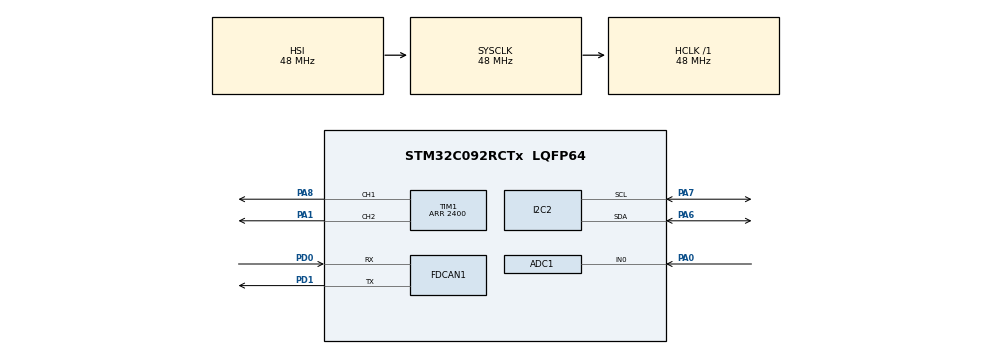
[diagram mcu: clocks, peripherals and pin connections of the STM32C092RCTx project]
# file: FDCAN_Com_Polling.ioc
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ADC1.NbrOfConversionFlag=0
ADC1.SelectedChannel=ADC_CHANNEL_0
ADC1.master=1
FDCAN1.AutoRetransmission=ENABLE
FDCAN1.CalculateBaudRateData=1000000
FDCAN1.CalculateBaudRateNominal=1000000
FDCAN1.CalculateTimeBitNominal=1000
FDCAN1.CalculateTimeQuantumNominal=20.833333333333332
FDCAN1.DataSyncJumpWidth=6
FDCAN1.DataTimeSeg1=17
FDCAN1.DataTimeSeg2=6
FDCAN1.FrameFormat=FDCAN_FRAME_FD_BRS
FDCAN1.NominalPrescaler=1
FDCAN1.NominalSyncJumpWidth=12
FDCAN1.NominalTimeSeg1=35
FDCAN1.NominalTimeSeg2=12
FDCAN1.StdFiltersNbr=1
FDCAN1.TransmitPause=ENABLE
I2C2.Timing=0x10805D88
Mcu.Family=STM32C0
Mcu.Name=STM32C092RCTx
Mcu.Package=LQFP64
NUCLEO-C092RC.BUTTON=2
NUCLEO-C092RC.LD1=true
NUCLEO-C092RC.LD2=true
NUCLEO-C092RC.VCP=true
NVIC.TIM2_IRQn=true\:0\:0\:false\:false\:true\:true\:true\:true
PA0.Mode=IN0
PA0.Signal=ADC1_IN0
PA1.Signal=S_TIM1_CH2
PA6.Mode=I2C
PA6.Signal=I2C2_SDA
PA7.Mode=I2C
PA7.Signal=I2C2_SCL
PA8.Signal=S_TIM1_CH1
PD0.Mode=FDCAN_Activate
PD0.Signal=FDCAN1_RX
PD1.Mode=FDCAN_Activate
PD1.Signal=FDCAN1_TX
ProjectManager.HeapSize=0x200
ProjectManager.StackSize=0x400
ProjectManager.TargetToolchain=STM32CubeIDE
RCC.ADCFreq_Value=48000000
RCC.AHBFreq_Value=48000000
RCC.CortexFreq_Value=48000000
RCC.EXTERNAL_CLOCK_VALUE=12288000
RCC.HCLKFreq_Value=48000000
RCC.HSE_VALUE=8000000
RCC.HSISYSCLKDivider=RCC_HSI_DIV1
RCC.HSI_VALUE=48000000
RCC.LSE_VALUE=32768
RCC.SYSCLKFreq_VALUE=48000000
SH.S_TIM1_CH1.0=TIM1_CH1,PWM Generation1 CH1
SH.S_TIM1_CH2.0=TIM1_CH2,PWM Generation2 CH2
TIM1.Channel-PWM\ Generation1\ CH1=TIM_CHANNEL_1
TIM1.Channel-PWM\ Generation2\ CH2=TIM_CHANNEL_2
TIM1.Period=2400
TIM1.Pulse-PWM\ Generation1\ CH1=0
TIM1.Pulse-PWM\ Generation2\ CH2=0
TIM2.Period=48000
VP_NUCLEO-C092RC_VS_BSP_COMMON.Mode=COMMON
VP_TIM2_VS_ClockSourceINT.Mode=Internal
board=NUCLEO-C092RC

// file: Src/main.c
/* USER CODE BEGIN Header */
/**
  ******************************************************************************
  * @file    FDCAN/FDCAN_Com_Polling/Src/main.c
  * @author  MCD Application Team
  * @brief   This sample code shows how to achieve Polling Process Communication
  *          between two FDCAN units.
  ******************************************************************************
  * @attention
  *
  * Copyright (c) 2024 STMicroelectronics.
  * All rights reserved.
  *
  * This software is licensed under terms that can be found in the LICENSE file
  * in the root directory of this software component.
  * If no LICENSE file comes with this software, it is provided AS-IS.
  *
  ******************************************************************************
  */
/* USER CODE END Header */
#include "main.h"

/* USER CODE BEGIN Includes */
#include <stdio.h>
#include <string.h>
/* USER CODE END Includes */

/* USER CODE BEGIN PD */
#define TX_ID          (0x111)   /* TX CAN message identifier    */
#define RX_ID          (0x111)   /* RX CAN message identifier    */

/* INA219 I2C address.
   The INA219 default 7-bit address is 0x40.
   In STM32 HAL, we send the address as INA219_ADDR << 1 later. */
#define INA219_ADDR              0x40

/* INA219 register addresses from the INA219 datasheet.
   These tell the sensor which internal register we want to write/read. */
#define INA219_REG_CONFIG        0x00  // Configuration register: sets voltage/current measurement mode
#define INA219_REG_SHUNTVOLTAGE  0x01  // Shunt voltage register
#define INA219_REG_BUSVOLTAGE    0x02  // Bus voltage register
#define INA219_REG_POWER         0x03  // Power register
#define INA219_REG_CURRENT       0x04  // Current register: this is what we read for motor current
#define INA219_REG_CALIBRATION   0x05  // Calibration register: sets current scaling

#define ADC_MIN_SAFE 0
// If ADC position is below this, stop the motor.

#define ADC_MAX_SAFE 4095
// 12-bit ADC max is 4095.
// set 4000 so saturation doesnt happen
// If ADC position is above this, stop the motor.

#define PWM_MAX 2400
// Your TIM1 period is 2400, so compare = 2400 means 100% high.

#define PWM_HALF 1200
// Half of 2400, used for 50% speed test.

#define NSAMPLES 400
// 400 samples total. At 1 kHz, this is 400 ms.

#define CURRENT_FLIP_TIME 100
// Flip desired current every 100 samples.
// 100 samples at 1 kHz = 100 ms.

#define DESIRED_CURRENT_RAW 150
// Desired current in raw INA219 units.
// 150 raw is about 50 mA because raw / 3 ≈ mA.
// Start low for safety.

#define KP_CURRENT .05f
// Proportional gain for current controller.

#define KI_CURRENT 1.0f

/* USER CODE END PD */

/* USER CODE BEGIN PM */
#define COUNTOF(BUFFER) (sizeof((BUFFER)) / sizeof(*(BUFFER)))
/* USER CODE END PM */

COM_InitTypeDef BspCOMInit;
ADC_HandleTypeDef hadc1;

FDCAN_HandleTypeDef hfdcan1;

I2C_HandleTypeDef hi2c2;

TIM_HandleTypeDef htim1;
TIM_HandleTypeDef htim2;

/* USER CODE BEGIN PV */
FDCAN_RxHeaderTypeDef rxHeader;
FDCAN_TxHeaderTypeDef txHeader;
uint8_t rxData[16U];
static const uint8_t txData[] = {0x10, 0x32, 0x54, 0x76, 0x98, 0x00, 0x11, 0x22,
                                 0x33, 0x44, 0x55, 0x66, 0x77, 0x88, 0x99, 0x00
                                };

volatile uint8_t state = 0;
// state = 0 means do nothing
// state = 1 means the user pressed 'a', so the interrupt should read ADC/current once

volatile uint32_t latest_position = 0;
// Stores the most recent ADC position value

volatile signed short latest_current_raw = 0;
// Stores the most recent raw INA219 current value

volatile uint8_t motor_killed = 0;
// 0 = motor is allowed
// 1 = safety stopped the motor

volatile signed short measured_current_array[NSAMPLES];
// Actual INA219 current readings.

volatile signed short desired_current_array[NSAMPLES];
// Desired current at each sample.

volatile int samples_collected = 0;
// How many samples were actually collected.

volatile uint32_t position_array[NSAMPLES];
// Stores potentiometer/ADC position during current-control test

/* USER CODE END PV */

void SystemClock_Config(void);
static void MX_GPIO_Init(void);
static void MX_FDCAN1_Init(void);
static void MX_ADC1_Init(void);
static void MX_I2C2_Init(void);
static void MX_TIM1_Init(void);
static void MX_TIM2_Init(void);
/* USER CODE BEGIN PFP */
static uint32_t BufferCmp8b(const uint8_t *pBuffer1, const uint8_t *pBuffer2, uint16_t BufferLength);

/* USER CODE END PFP */

/* USER CODE BEGIN 0 */
uint32_t read_servo_adc(void)
{
    uint32_t raw = 0;

    HAL_ADC_Start(&hadc1);

    if (HAL_ADC_PollForConversion(&hadc1, 10) == HAL_OK)
    {
        raw = HAL_ADC_GetValue(&hadc1);
    }
    else
    {
        raw = 0;
    }

    HAL_ADC_Stop(&hadc1);

    return raw;
}

/* This handle is created by the BSP Virtual COM Port code.
   We use it because your project does not show a normal huart2 or huart3 in main.c. */
extern UART_HandleTypeDef hcom_uart[];

/* This function writes a 16-bit value to one INA219 register. */
void writeINA219(int reg, int value)
{
    uint8_t buf[3];

    buf[0] = reg;
    // First byte: which INA219 register we want to write to.

    buf[1] = value >> 8;
    // Second byte: upper 8 bits of the 16-bit value.
    // Example: if value = 0x308F, this sends 0x30 first.

    buf[2] = value & 0xFF;
    // Third byte: lower 8 bits of the 16-bit value.
    // Example: if value = 0x308F, this sends 0x8F second.

    HAL_I2C_Master_Transmit(&hi2c2, INA219_ADDR << 1, buf, 3, 10);
    // &hi2c2: use I2C2, which is connected to the INA219.
    // INA219_ADDR << 1: STM32 HAL expects the 7-bit address shifted left by 1.
    // buf: the data we are sending.
    // 3: we send 3 bytes: register, high byte, low byte.
    // 10: timeout in milliseconds.
}

/* This function reads a 16-bit signed value from one INA219 register. */
signed short readINA219(unsigned char reg)
{
    uint8_t buffer[2];

    HAL_I2C_Master_Transmit(&hi2c2, INA219_ADDR << 1, &reg, 1, 10);
    // First, tell the INA219 which register we want to read from.
    // &reg: address of the register variable.
    // 1: send only 1 byte, the register address.
    // 10: timeout in milliseconds.

    HAL_I2C_Master_Receive(&hi2c2, INA219_ADDR << 1, buffer, 2, 10);
    // Then read 2 bytes back from that register.
    // buffer[0] will be the high byte.
    // buffer[1] will be the low byte.
    // 2: receive 2 bytes.
    // 10: timeout in milliseconds.

    signed short value = (buffer[0] << 8) | buffer[1];
    // Combine the two 8-bit bytes into one 16-bit number.
    // buffer[0] << 8 moves the high byte into the upper half.
    // | buffer[1] adds the low byte.

    return value/3;
}

/* This function configures the INA219 current sensor once at startup. */
void init_ina219(void)
{
    unsigned short ina219_calValue = 1024;
    // Calibration value.
    // This sets the scaling for current measurements.
    // The assignment gives 1024, so we use that.

    unsigned short ina219_config = 0x308F;
    // Same as binary 0b0011000010001111 from the assignment.
    // This configures the INA219 measurement settings:
    // - bus voltage range
    // - shunt voltage range
    // - ADC resolution/sample time
    // - continuous shunt and bus measurement mode

    writeINA219(INA219_REG_CALIBRATION, ina219_calValue);
    // Write the calibration value to register 0x05.

    writeINA219(INA219_REG_CONFIG, ina219_config);
    // Write the configuration value to register 0x00.
}

/* This function reads current as a float in milliamps.
   We may not use it for printing because float printing can be annoying on STM32. */
float read_ina219(void)
{
    float ma = 0;

    signed short value = readINA219(INA219_REG_CURRENT);
    // Read the current register, register 0x04.

    ma = value / 3.0;
    // According to the assignment, the raw value is in thirds of a milliamp.
    // So dividing by 3 gives current in mA.

    return ma;
}

/* This function prints position and current to the serial monitor. */
void print_position_and_current(uint32_t position, signed short current_raw)
{
    char msg[80];
    // Character array to store the message before sending it.
    // 80 characters is enough for this short line.

    snprintf(msg, sizeof(msg), "Position: %lu, Current raw: %d\r\n", position, current_raw);
    // Create a string like:
    // Position: 2000, Current raw: 12
    // %lu is for unsigned long / uint32_t.
    // %d is for signed integer.
    // \r\n makes a new line in the serial monitor.

    HAL_UART_Transmit(&hcom_uart[COM1], (uint8_t *)msg, strlen(msg), HAL_MAX_DELAY);
    // Send the message through the Virtual COM Port.
    // hcom_uart[COM1] is the UART used by BSP COM1.
    // strlen(msg) sends only the actual message length.
    // HAL_MAX_DELAY means wait until the message is sent.
}

extern UART_HandleTypeDef hcom_uart[];
void print_adc_value(uint32_t adc_value)
{
    char msg[50];

    snprintf(msg, sizeof(msg), "Servo ADC value: %lu\r\n", adc_value);

    HAL_UART_Transmit(&hcom_uart[COM1], (uint8_t *)msg, strlen(msg), HAL_MAX_DELAY);
}

void check_ina219_connection(void)
{
    char msg[80];

    HAL_StatusTypeDef status = HAL_I2C_IsDeviceReady(&hi2c2, INA219_ADDR << 1, 3, 100);

    if (status == HAL_OK)
    {
        snprintf(msg, sizeof(msg), "INA219 found at address 0x%02X\r\n", INA219_ADDR);
    }
    else
    {
        snprintf(msg, sizeof(msg), "INA219 NOT found. Check wiring/address.\r\n");
    }

    HAL_UART_Transmit(&hcom_uart[COM1], (uint8_t *)msg, strlen(msg), HAL_MAX_DELAY);
}

void send_string(char *msg)
{
    HAL_UART_Transmit(&hcom_uart[COM1], (uint8_t *)msg, strlen(msg), HAL_MAX_DELAY);
}

void motor_off(void)
{
    // Motor off for this DRV8833 setup:
    // both inputs high.
    __HAL_TIM_SET_COMPARE(&htim1, TIM_CHANNEL_1, PWM_MAX);
    __HAL_TIM_SET_COMPARE(&htim1, TIM_CHANNEL_2, PWM_MAX);
}

void motor_forward_50(void)
{
    __HAL_TIM_SET_COMPARE(&htim1, TIM_CHANNEL_1, PWM_MAX);
    __HAL_TIM_SET_COMPARE(&htim1, TIM_CHANNEL_2, PWM_HALF);
}

void motor_reverse_50(void)
{
    __HAL_TIM_SET_COMPARE(&htim1, TIM_CHANNEL_1, PWM_HALF);
    __HAL_TIM_SET_COMPARE(&htim1, TIM_CHANNEL_2, PWM_MAX);
}

void test_motor_pwm(void)
{
    send_string("PWM test starting\r\n");

    motor_forward_50();
    HAL_Delay(200);   // less than 1 second, short safety test

    motor_off();
    HAL_Delay(200);

    motor_reverse_50();
    HAL_Delay(200);

    motor_off();

    send_string("PWM test done\r\n");
}

void set_motor_pwm(int pwm)
{
    // pwm range: -2400 to +2400.
    // pwm > 0: one direction.
    // pwm < 0: opposite direction.
    // pwm = 0: motor off.

    if (pwm > PWM_MAX)
    {
        pwm = PWM_MAX;
    }

    if (pwm < -PWM_MAX)
    {
        pwm = -PWM_MAX;
    }

    if (pwm > 0)
    {
        // Forward:
        // CH1 stays high.
        // CH2 decreases as speed increases.
        __HAL_TIM_SET_COMPARE(&htim1, TIM_CHANNEL_1, PWM_MAX);
        __HAL_TIM_SET_COMPARE(&htim1, TIM_CHANNEL_2, PWM_MAX - pwm);
    }
    else if (pwm < 0)
    {
        // Reverse:
        // CH2 stays high.
        // CH1 decreases as speed increases.
        __HAL_TIM_SET_COMPARE(&htim1, TIM_CHANNEL_1, PWM_MAX + pwm);
        __HAL_TIM_SET_COMPARE(&htim1, TIM_CHANNEL_2, PWM_MAX);
    }
    else
    {
        motor_off();
    }
}

/* USER CODE END 0 */

int main(void)
{

  /* USER CODE BEGIN 1 */

  /* STM32C0xx HAL library initialization:
       - Configure the Flash prefetch
       - Systick timer is configured by default as source of time base, but user
         can eventually implement his proper time base source (a general purpose
         timer for example or other time source), keeping in mind that Time base
         duration should be kept 1ms since PPP_TIMEOUT_VALUEs are defined and
         handled in milliseconds basis.
       - Low Level Initialization
     */
  /* USER CODE END 1 */

  /* MCU Configuration--------------------------------------------------------*/

  /* Reset of all peripherals, Initializes the Flash interface and the Systick. */
  HAL_Init();

  /* Configure the system clock */
  SystemClock_Config();

  /* USER CODE BEGIN SysInit */
  /* Configure LED1 and LED2 */
  BSP_LED_Init(LED1);
  BSP_LED_Init(LED2);

  /* Configure User push-button in interrupt mode */
  BSP_PB_Init(BUTTON_USER, BUTTON_MODE_EXTI);

  /* USER CODE END SysInit */

  /* Initialize all configured peripherals */
  MX_GPIO_Init();
  MX_FDCAN1_Init();
  MX_ADC1_Init();
  MX_I2C2_Init();
  MX_TIM1_Init();
  MX_TIM2_Init();
  /* USER CODE BEGIN 2 */

  /* Configure reception filter to Rx FIFO 0 */
  FDCAN_FilterTypeDef        sFilterConfig;
  sFilterConfig.IdType       = FDCAN_STANDARD_ID;
  sFilterConfig.FilterIndex  = 0U;
  sFilterConfig.FilterType   = FDCAN_FILTER_MASK;
  sFilterConfig.FilterConfig = FDCAN_FILTER_TO_RXFIFO0;
  sFilterConfig.FilterID1    = TX_ID;
  sFilterConfig.FilterID2    = 0x7FF;
  if (HAL_FDCAN_ConfigFilter(&hfdcan1, &sFilterConfig) != HAL_OK)
  {
    Error_Handler();
  }

  /**
    *  Configure global filter:
    *    - Filter all remote frames with STD and EXT ID
    *    - Reject non matching frames with STD ID and EXT ID
    */
  if (HAL_FDCAN_ConfigGlobalFilter(&hfdcan1,
                                   FDCAN_REJECT, FDCAN_REJECT,
                                   FDCAN_FILTER_REMOTE, FDCAN_FILTER_REMOTE) != HAL_OK)
  {
    Error_Handler();
  }

  /* Prepare Tx message Header */
  txHeader.Identifier          = TX_ID;
  txHeader.IdType              = FDCAN_STANDARD_ID;
  txHeader.TxFrameType         = FDCAN_DATA_FRAME;
  txHeader.DataLength          = FDCAN_DLC_BYTES_16;
  txHeader.ErrorStateIndicator = FDCAN_ESI_ACTIVE;
  txHeader.BitRateSwitch       = FDCAN_BRS_ON;
  txHeader.FDFormat            = FDCAN_FD_CAN;
  txHeader.TxEventFifoControl  = FDCAN_NO_TX_EVENTS;
  txHeader.MessageMarker       = 0U;

  /**
    * Configure and enable Tx Delay Compensation, required for BRS mode.
    * TdcOffset default recommended value: DataTimeSeg1 * DataPrescaler
    * TdcFilter default recommended value: 0
    */
  if (HAL_FDCAN_ConfigTxDelayCompensation(&hfdcan1,
                                          (hfdcan1.Init.DataPrescaler * hfdcan1.Init.DataTimeSeg1), 0U) != HAL_OK)
  {
    Error_Handler();
  }

  if (HAL_FDCAN_EnableTxDelayCompensation(&hfdcan1) != HAL_OK)
  {
    Error_Handler();
  }

  /* Start FDCAN controller */
  if (HAL_FDCAN_Start(&hfdcan1) != HAL_OK)
  {
    Error_Handler();
  }

  send_string("COM started. Type a to read ADC/current.\r\n");

  check_ina219_connection();//debugging

  init_ina219();  // Initialize the INA219 once before we start reading current.

  HAL_TIM_Base_Start_IT(&htim2);

  // Start with motor off before enabling PWM
  motor_off();

  HAL_TIM_PWM_Start(&htim1, TIM_CHANNEL_1);
  HAL_TIM_PWM_Start(&htim1, TIM_CHANNEL_2);

  // Make sure it stays off after PWM starts
  motor_off();

  send_string("PWM ready. Send a to read sensors, p to test motor.\r\n");

  /* USER CODE END 2 */

  /* Initialize leds */
  BSP_LED_Init(LED_GREEN);
  BSP_LED_Init(LED_BLUE);

  /* Initialize User push-button without interrupt mode. */
  BSP_PB_Init(BUTTON_USER, BUTTON_MODE_GPIO);

  /* Initialize COM1 port (115200, 8 bits (7-bit data + 1 stop bit), no parity */
  BspCOMInit.BaudRate   = 115200;
  BspCOMInit.WordLength = COM_WORDLENGTH_8B;
  BspCOMInit.StopBits   = COM_STOPBITS_1;
  BspCOMInit.Parity     = COM_PARITY_NONE;
  BspCOMInit.HwFlowCtl  = COM_HWCONTROL_NONE;
  if (BSP_COM_Init(COM1, &BspCOMInit) != BSP_ERROR_NONE)
  {
    Error_Handler();
  }

  /* Infinite loop */
  /* USER CODE BEGIN WHILE */
  while (1)
  {
      uint8_t received_char;

      HAL_UART_Receive(&hcom_uart[COM1], &received_char, 1, HAL_MAX_DELAY);

      if (received_char == '\n' || received_char == '\r')
      {
          continue;
      }

      if (received_char == 'a')
      {
          send_string("Starting current control test\r\n");

          motor_killed = 0;
          samples_collected = 0;

          state = 1;

          while (state == 1)
          {
              // Wait until interrupt finishes the 400-sample test
          }

          if (motor_killed == 1)
          {
              send_string("SAFETY STOP: ADC outside safe range\r\n");
          }

          send_string("index,desired,current,position\r\n");

          for (int i = 0; i < samples_collected; i++)
          {
              char msg[80];

              snprintf(msg, sizeof(msg), "%d,%d,%d,%lu\r\n",
                       i,
                       desired_current_array[i],
                       measured_current_array[i],
					   position_array[i]);

              HAL_UART_Transmit(&hcom_uart[COM1], (uint8_t *)msg, strlen(msg), HAL_MAX_DELAY);
          }

          send_string("Done\r\n");
      }

      if (received_char == 'p'){

		  test_motor_pwm();

		  if (motor_killed == 1)
		  {
			  send_string("SAFETY STOP: ADC outside safe range\r\n");
		  }

	}

  }
  /* USER CODE END 3 */
}

void SystemClock_Config(void)
{
  RCC_OscInitTypeDef RCC_OscInitStruct = {0};
  RCC_ClkInitTypeDef RCC_ClkInitStruct = {0};

  __HAL_FLASH_SET_LATENCY(FLASH_LATENCY_1);

  /** Initializes the RCC Oscillators according to the specified parameters
  * in the RCC_OscInitTypeDef structure.
  */
  RCC_OscInitStruct.OscillatorType = RCC_OSCILLATORTYPE_HSI;
  RCC_OscInitStruct.HSIState = RCC_HSI_ON;
  RCC_OscInitStruct.HSIDiv = RCC_HSI_DIV1;
  RCC_OscInitStruct.HSICalibrationValue = RCC_HSICALIBRATION_DEFAULT;
  if (HAL_RCC_OscConfig(&RCC_OscInitStruct) != HAL_OK)
  {
    Error_Handler();
  }

  /** Initializes the CPU, AHB and APB buses clocks
  */
  RCC_ClkInitStruct.ClockType = RCC_CLOCKTYPE_HCLK|RCC_CLOCKTYPE_SYSCLK
                              |RCC_CLOCKTYPE_PCLK1;
  RCC_ClkInitStruct.SYSCLKSource = RCC_SYSCLKSOURCE_HSI;
  RCC_ClkInitStruct.SYSCLKDivider = RCC_SYSCLK_DIV1;
  RCC_ClkInitStruct.AHBCLKDivider = RCC_HCLK_DIV1;
  RCC_ClkInitStruct.APB1CLKDivider = RCC_APB1_DIV1;

  if (HAL_RCC_ClockConfig(&RCC_ClkInitStruct, FLASH_LATENCY_1) != HAL_OK)
  {
    Error_Handler();
  }
}

static void MX_ADC1_Init(void)
{

  ADC_ChannelConfTypeDef sConfig = {0};

  /** Configure the global features of the ADC (Clock, Resolution, Data Alignment and number of conversion)
  */
  hadc1.Instance = ADC1;
  hadc1.Init.ClockPrescaler = ADC_CLOCK_SYNC_PCLK_DIV2;
  hadc1.Init.Resolution = ADC_RESOLUTION_12B;
  hadc1.Init.DataAlign = ADC_DATAALIGN_RIGHT;
  hadc1.Init.ScanConvMode = ADC_SCAN_SEQ_FIXED;
  hadc1.Init.EOCSelection = ADC_EOC_SINGLE_CONV;
  hadc1.Init.LowPowerAutoWait = DISABLE;
  hadc1.Init.LowPowerAutoPowerOff = DISABLE;
  hadc1.Init.ContinuousConvMode = DISABLE;
  hadc1.Init.NbrOfConversion = 1;
  hadc1.Init.DiscontinuousConvMode = DISABLE;
  hadc1.Init.ExternalTrigConv = ADC_SOFTWARE_START;
  hadc1.Init.ExternalTrigConvEdge = ADC_EXTERNALTRIGCONVEDGE_NONE;
  hadc1.Init.DMAContinuousRequests = DISABLE;
  hadc1.Init.Overrun = ADC_OVR_DATA_PRESERVED;
  hadc1.Init.SamplingTimeCommon1 = ADC_SAMPLETIME_1CYCLE_5;
  hadc1.Init.OversamplingMode = DISABLE;
  hadc1.Init.TriggerFrequencyMode = ADC_TRIGGER_FREQ_HIGH;
  if (HAL_ADC_Init(&hadc1) != HAL_OK)
  {
    Error_Handler();
  }

  /** Configure Regular Channel
  */
  sConfig.Channel = ADC_CHANNEL_0;
  sConfig.Rank = ADC_RANK_CHANNEL_NUMBER;
  if (HAL_ADC_ConfigChannel(&hadc1, &sConfig) != HAL_OK)
  {
    Error_Handler();
  }

}

static void MX_FDCAN1_Init(void)
{

  hfdcan1.Instance = FDCAN1;
  hfdcan1.Init.ClockDivider = FDCAN_CLOCK_DIV1;
  hfdcan1.Init.FrameFormat = FDCAN_FRAME_FD_BRS;
  hfdcan1.Init.Mode = FDCAN_MODE_NORMAL;
  hfdcan1.Init.AutoRetransmission = ENABLE;
  hfdcan1.Init.TransmitPause = ENABLE;
  hfdcan1.Init.ProtocolException = DISABLE;
  hfdcan1.Init.NominalPrescaler = 1;
  hfdcan1.Init.NominalSyncJumpWidth = 12;
  hfdcan1.Init.NominalTimeSeg1 = 35;
  hfdcan1.Init.NominalTimeSeg2 = 12;
  hfdcan1.Init.DataPrescaler = 1;
  hfdcan1.Init.DataSyncJumpWidth = 6;
  hfdcan1.Init.DataTimeSeg1 = 17;
  hfdcan1.Init.DataTimeSeg2 = 6;
  hfdcan1.Init.StdFiltersNbr = 1;
  hfdcan1.Init.ExtFiltersNbr = 0;
  hfdcan1.Init.TxFifoQueueMode = FDCAN_TX_FIFO_OPERATION;
  if (HAL_FDCAN_Init(&hfdcan1) != HAL_OK)
  {
    Error_Handler();
  }

}

static void MX_I2C2_Init(void)
{

  hi2c2.Instance = I2C2;
  hi2c2.Init.Timing = 0x10805D88;
  hi2c2.Init.OwnAddress1 = 0;
  hi2c2.Init.AddressingMode = I2C_ADDRESSINGMODE_7BIT;
  hi2c2.Init.DualAddressMode = I2C_DUALADDRESS_DISABLE;
  hi2c2.Init.OwnAddress2 = 0;
  hi2c2.Init.OwnAddress2Masks = I2C_OA2_NOMASK;
  hi2c2.Init.GeneralCallMode = I2C_GENERALCALL_DISABLE;
  hi2c2.Init.NoStretchMode = I2C_NOSTRETCH_DISABLE;
  if (HAL_I2C_Init(&hi2c2) != HAL_OK)
  {
    Error_Handler();
  }

  /** Configure Analogue filter
  */
  if (HAL_I2CEx_ConfigAnalogFilter(&hi2c2, I2C_ANALOGFILTER_ENABLE) != HAL_OK)
  {
    Error_Handler();
  }

  /** Configure Digital filter
  */
  if (HAL_I2CEx_ConfigDigitalFilter(&hi2c2, 0) != HAL_OK)
  {
    Error_Handler();
  }

}

static void MX_TIM1_Init(void)
{

  TIM_MasterConfigTypeDef sMasterConfig = {0};
  TIM_OC_InitTypeDef sConfigOC = {0};
  TIM_BreakDeadTimeConfigTypeDef sBreakDeadTimeConfig = {0};

  htim1.Instance = TIM1;
  htim1.Init.Prescaler = 0;
  htim1.Init.CounterMode = TIM_COUNTERMODE_UP;
  htim1.Init.Period = 2400;
  htim1.Init.ClockDivision = TIM_CLOCKDIVISION_DIV1;
  htim1.Init.RepetitionCounter = 0;
  htim1.Init.AutoReloadPreload = TIM_AUTORELOAD_PRELOAD_DISABLE;
  if (HAL_TIM_PWM_Init(&htim1) != HAL_OK)
  {
    Error_Handler();
  }
  sMasterConfig.MasterOutputTrigger = TIM_TRGO_RESET;
  sMasterConfig.MasterOutputTrigger2 = TIM_TRGO2_RESET;
  sMasterConfig.MasterSlaveMode = TIM_MASTERSLAVEMODE_DISABLE;
  if (HAL_TIMEx_MasterConfigSynchronization(&htim1, &sMasterConfig) != HAL_OK)
  {
    Error_Handler();
  }
  sConfigOC.OCMode = TIM_OCMODE_PWM1;
  sConfigOC.Pulse = 0;
  sConfigOC.OCPolarity = TIM_OCPOLARITY_HIGH;
  sConfigOC.OCNPolarity = TIM_OCNPOLARITY_HIGH;
  sConfigOC.OCFastMode = TIM_OCFAST_DISABLE;
  sConfigOC.OCIdleState = TIM_OCIDLESTATE_RESET;
  sConfigOC.OCNIdleState = TIM_OCNIDLESTATE_RESET;
  if (HAL_TIM_PWM_ConfigChannel(&htim1, &sConfigOC, TIM_CHANNEL_1) != HAL_OK)
  {
    Error_Handler();
  }
  if (HAL_TIM_PWM_ConfigChannel(&htim1, &sConfigOC, TIM_CHANNEL_2) != HAL_OK)
  {
    Error_Handler();
  }
  sBreakDeadTimeConfig.OffStateRunMode = TIM_OSSR_DISABLE;
  sBreakDeadTimeConfig.OffStateIDLEMode = TIM_OSSI_DISABLE;
  sBreakDeadTimeConfig.LockLevel = TIM_LOCKLEVEL_OFF;
  sBreakDeadTimeConfig.DeadTime = 0;
  sBreakDeadTimeConfig.BreakState = TIM_BREAK_DISABLE;
  sBreakDeadTimeConfig.BreakPolarity = TIM_BREAKPOLARITY_HIGH;
  sBreakDeadTimeConfig.BreakFilter = 0;
  sBreakDeadTimeConfig.BreakAFMode = TIM_BREAK_AFMODE_INPUT;
  sBreakDeadTimeConfig.Break2State = TIM_BREAK2_DISABLE;
  sBreakDeadTimeConfig.Break2Polarity = TIM_BREAK2POLARITY_HIGH;
  sBreakDeadTimeConfig.Break2Filter = 0;
  sBreakDeadTimeConfig.Break2AFMode = TIM_BREAK_AFMODE_INPUT;
  sBreakDeadTimeConfig.AutomaticOutput = TIM_AUTOMATICOUTPUT_DISABLE;
  if (HAL_TIMEx_ConfigBreakDeadTime(&htim1, &sBreakDeadTimeConfig) != HAL_OK)
  {
    Error_Handler();
  }
  HAL_TIM_MspPostInit(&htim1);

}

static void MX_TIM2_Init(void)
{

  TIM_ClockConfigTypeDef sClockSourceConfig = {0};
  TIM_MasterConfigTypeDef sMasterConfig = {0};

  htim2.Instance = TIM2;
  htim2.Init.Prescaler = 0;
  htim2.Init.CounterMode = TIM_COUNTERMODE_UP;
  htim2.Init.Period = 48000;
  htim2.Init.ClockDivision = TIM_CLOCKDIVISION_DIV1;
  htim2.Init.AutoReloadPreload = TIM_AUTORELOAD_PRELOAD_DISABLE;
  if (HAL_TIM_Base_Init(&htim2) != HAL_OK)
  {
    Error_Handler();
  }
  sClockSourceConfig.ClockSource = TIM_CLOCKSOURCE_INTERNAL;
  if (HAL_TIM_ConfigClockSource(&htim2, &sClockSourceConfig) != HAL_OK)
  {
    Error_Handler();
  }
  sMasterConfig.MasterOutputTrigger = TIM_TRGO_RESET;
  sMasterConfig.MasterSlaveMode = TIM_MASTERSLAVEMODE_DISABLE;
  if (HAL_TIMEx_MasterConfigSynchronization(&htim2, &sMasterConfig) != HAL_OK)
  {
    Error_Handler();
  }

}

static void MX_GPIO_Init(void)
{

  /* GPIO Ports Clock Enable */
  __HAL_RCC_GPIOA_CLK_ENABLE();
  __HAL_RCC_GPIOD_CLK_ENABLE();

}

/* USER CODE BEGIN 4 */

/**
  * @brief  BSP User push-button callback
  * @param  Button Specifies the pin connected EXTI line
  * @retval None.
  */
void BSP_PB_Callback(Button_TypeDef Button)
{
  if (Button == BUTTON_USER)
  {
    /* Turn LED1 off */
    BSP_LED_Off(LED1);

    /* Add message to TX FIFO */
    if (HAL_FDCAN_AddMessageToTxFifoQ(&hfdcan1, &txHeader, txData) != HAL_OK)
    {
      Error_Handler();
    }

    /* Delay for simple button debounce */
    HAL_Delay(100U);
  }
}

/**
  * @brief  Compares two buffers.
  * @param  pBuffer1 buffer to be compared.
  * @param  pBuffer2 buffer to be compared.
  * @param  BufferLength: buffer's length.
  * @retval 0: pBuffer1 is identical to pBuffer2
  * @retval 1: pBuffer1 differs from pBuffer2
  */
static uint32_t BufferCmp8b(const uint8_t *pBuffer1, const uint8_t *pBuffer2, uint16_t BufferLength)
{
  while (BufferLength--)
  {
    if (*pBuffer1 != *pBuffer2)
    {
      return 1U;
    }

    pBuffer1++;
    pBuffer2++;
  }
  return 0U;
}

void HAL_TIM_PeriodElapsedCallback(TIM_HandleTypeDef *htim)
{
    if (htim->Instance == TIM2)
    {
        // This runs every 1 ms if TIM2 is set to 1 kHz.
        static volatile int counter = 0;
        static volatile float eint = 0.0f;

        latest_position = read_servo_adc();
        // Always read the ADC in the interrupt for safety.

        // Safety check every 1 ms
        if (latest_position < ADC_MIN_SAFE || latest_position > ADC_MAX_SAFE)
        {
            motor_off();
            // Immediately turn off the motor if position is outside safe range.

            motor_killed = 1;
            // Remember that safety was triggered.

            state = 0;
            // If the main loop was waiting for the interrupt, release it.

            samples_collected = counter;
            counter = 0;
            eint = 0.0f;
            return;
            // Skip the rest of the interrupt.
        }

        if (state == 1)
        {
            signed short actual_current = readINA219(INA219_REG_CURRENT);
            signed short desired_current;

            // Flip desired current every 100 samples
            if ((counter / CURRENT_FLIP_TIME) % 2 == 0)
            {
                desired_current = DESIRED_CURRENT_RAW;
            }
            else
            {
                desired_current = -DESIRED_CURRENT_RAW;
            }

            int error = desired_current - actual_current;

            eint = eint + error;

            float u = KP_CURRENT * error + KI_CURRENT * eint;

            int pwm_command = (int)u;

            set_motor_pwm(pwm_command);

            desired_current_array[counter] = desired_current;
            measured_current_array[counter] = actual_current;
            position_array[counter] = latest_position;

            counter++;
            samples_collected = counter;

            if (counter >= NSAMPLES)
            {
                motor_off();

                state = 0;

                counter = 0;
                eint = 0.0f;
            }
        }
    }
}

/* USER CODE END 4 */

void Error_Handler(void)
{
  /* USER CODE BEGIN Error_Handler_Debug */
  /* User can add his own implementation to report the HAL error return state */

  while (1)
  {
    /* Toggle LED2 on */
    BSP_LED_Toggle(LED2);

    /* 1s delay */
    HAL_Delay(1000U);
  }
  /* USER CODE END Error_Handler_Debug */
}
